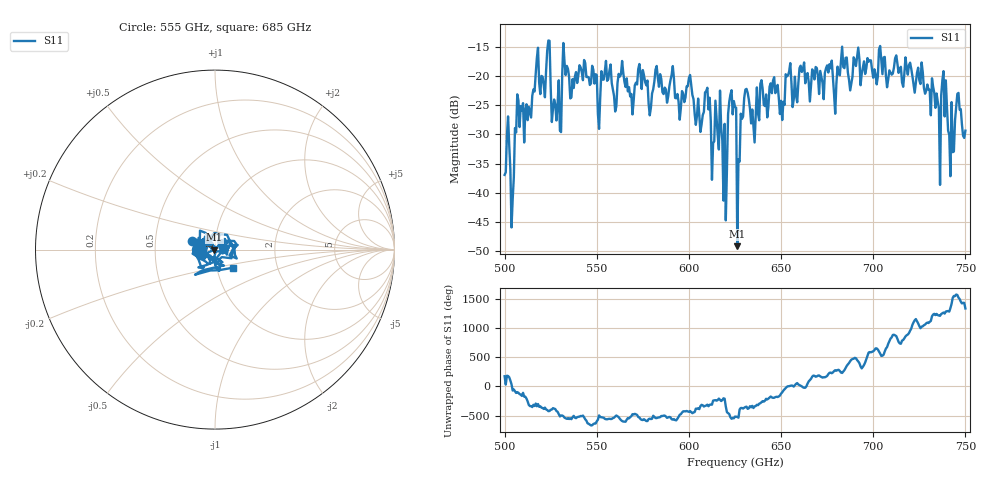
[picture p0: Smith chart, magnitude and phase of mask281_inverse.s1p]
!Created with skrf (http://scikit-rf.org).
# GHz S MA R 50.0
!freq magS11 angS11
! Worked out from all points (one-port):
!   401 points, 500 GHz to 750 GHz, reference 50 ohm
!   lowest |S11| = -49.1 dB at 626.2 GHz (marker M1), VSWR 1.01, Z = 49.7 - j0.103 ohm
!   |S11| at or under -10 dB: start of sweep to end of sweep
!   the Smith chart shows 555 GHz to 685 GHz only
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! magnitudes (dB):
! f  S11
! 500 GHz  -36.9
! 501.9 GHz  -26.9
! 504.4 GHz  -41.2
! 506.9 GHz  -23.1
! 513.8 GHz  -26.2
! 516.9 GHz  -19.6
! 523.8 GHz  -13.9
! 526.9 GHz  -24.0
! 531.2 GHz  -19.8
! 533.1 GHz  -19.8
! 550.6 GHz  -26.5
! 562.5 GHz  -20.1
! 593.8 GHz  -23.1
! 610 GHz  -22.0
! 619.4 GHz  -28.2
! 622.5 GHz  -23.2
! 625 GHz  -25.3
! 626.2 GHz  -49.1
! 631.2 GHz  -22.2
! 635 GHz  -28.6
! 656.2 GHz  -25.3
! 687.5 GHz  -22.5
! 718.8 GHz  -19.8
! 735 GHz  -24.4
! 738.1 GHz  -19.2
! 742.5 GHz  -24.5
! 746.2 GHz  -22.9
! 750 GHz  -29.4
